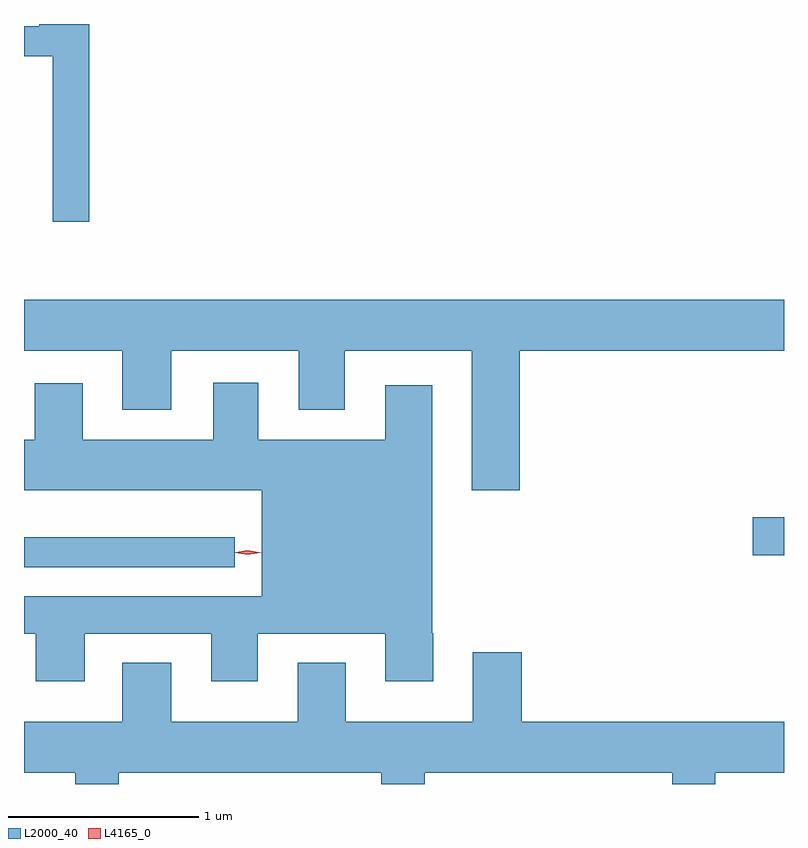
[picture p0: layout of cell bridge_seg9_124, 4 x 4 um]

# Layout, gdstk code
import gdstk
lib = gdstk.Library(unit=1e-6, precision=1e-09)
def R(c, l, rs):  # rectangles x0, y0, x1, y1
    for r in rs: c.add(gdstk.rectangle(r[:2], r[2:], *l))
def P(c, l, *ps):  # polygons
    for p in ps: c.add(gdstk.Polygon(p, *l))
L2000_40 = (2000, 40)
L4165_0 = (4165, 0)

bridge_seg9_124 = lib.new_cell('bridge_seg9_124')
R(bridge_seg9_124, L2000_40, [(1341.04,2046.176,1342.148,2046.334), (1344.876,2046.241,1345.04,2046.439)])
P(bridge_seg9_124, L2000_40, [(1341.384,2049.036),(1341.121,2049.036),(1341.121,2049.024),(1341.04,2049.024),(1341.04,2048.866),(1341.191,2048.866),(1341.191,2047.996),(1341.384,2047.996)],
  [(1343.649,2047.316),(1345.04,2047.316),(1345.04,2047.584),(1341.04,2047.584),(1341.04,2047.316),(1341.556,2047.316),(1341.556,2047.006),(1341.814,2047.006),(1341.814,2047.316),(1342.486,2047.316),(1342.486,2047.006),(1342.729,2047.006),(1342.729,2047.316),(1343.396,2047.316),(1343.396,2046.581),(1343.649,2046.581)],
  [(1341.359,2045.826),(1342.026,2045.826),(1342.026,2045.576),(1342.269,2045.576),(1342.269,2045.826),(1342.941,2045.826),(1342.941,2045.576),(1343.194,2045.576),(1343.194,2045.83),(1343.189,2045.83),(1343.189,2047.134),(1342.941,2047.134),(1342.941,2046.849),(1342.274,2046.849),(1342.274,2047.149),(1342.036,2047.149),(1342.036,2046.849),(1341.349,2046.849),(1341.349,2047.144),(1341.096,2047.144),(1341.096,2046.849),(1341.04,2046.849),(1341.04,2046.581),(1342.291,2046.581),(1342.291,2046.024),(1341.04,2046.024),(1341.04,2045.826),(1341.101,2045.826),(1341.101,2045.576),(1341.359,2045.576)],
  [(1342.921,2045.036),(1343.149,2045.036),(1343.149,2045.096),(1344.451,2045.096),(1344.451,2045.036),(1344.679,2045.036),(1344.679,2045.096),(1345.04,2045.096),(1345.04,2045.364),(1343.659,2045.364),(1343.659,2045.729),(1343.401,2045.729),(1343.401,2045.364),(1342.734,2045.364),(1342.734,2045.674),(1342.481,2045.674),(1342.481,2045.364),(1341.814,2045.364),(1341.814,2045.674),(1341.556,2045.674),(1341.556,2045.364),(1341.04,2045.364),(1341.04,2045.096),(1341.311,2045.096),(1341.311,2045.036),(1341.539,2045.036),(1341.539,2045.096),(1342.921,2045.096)])
P(bridge_seg9_124, L4165_0, [(1342.218,2046.243),(1342.15,2046.252),(1342.149,2046.253),(1342.15,2046.253),(1342.218,2046.262),(1342.287,2046.253),(1342.288,2046.252),(1342.287,2046.252)],
  [(1342.215,2046.245),(1342.154,2046.255),(1342.153,2046.255),(1342.154,2046.256),(1342.215,2046.265),(1342.277,2046.256),(1342.278,2046.256),(1342.277,2046.255)])

lib.write_gds('bridge_seg9_124.gds')
